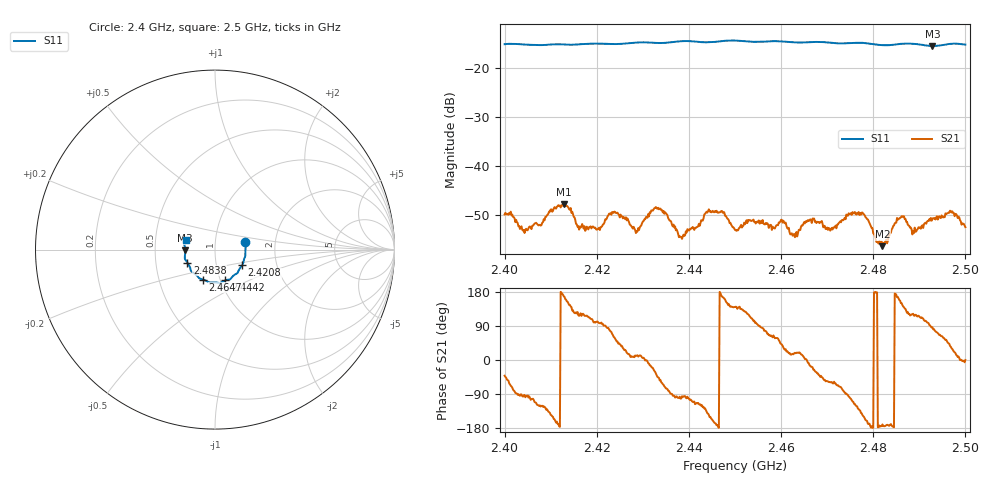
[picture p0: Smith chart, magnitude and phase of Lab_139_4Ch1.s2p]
# Hz S RI R 50
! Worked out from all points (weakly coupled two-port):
!   601 points, 2.4 GHz to 2.5 GHz, reference 50 ohm
!   highest |S21| = -47.78 dB at 2.4128 GHz (marker M1); lowest = -56.2 dB at 2.482 GHz (marker M2)
!   lowest |S11| = -15.6 dB at 2.4928 GHz (marker M3), VSWR 1.40, Z = 35.8 - j0.359 ohm
!   |S11| at or under -10 dB: start of sweep to end of sweep
!   S12 and S22 are empty: the file has one direction only
!   S11 on the Smith chart (normalised r, x): 2.4 GHz: 1.40, +0.12; 2.4208 GHz: 1.33, -0.24; 2.4442 GHz: 1.05, -0.37; 2.4647 GHz: 0.83, -0.29; 2.4838 GHz: 0.73, -0.11; 2.5 GHz: 0.72, +0.08
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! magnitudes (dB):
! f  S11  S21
! 2.4 GHz  -15.3  -49.8
! 2.4045 GHz  -15.3  -52.9
! 2.4128 GHz  -15.3  -47.8
! 2.4167 GHz  -15.2  -52.3
! 2.4208 GHz  -15.1  -52.4
! 2.4238 GHz  -15.2  -49.2
! 2.4288 GHz  -14.9  -53.3
! 2.4333 GHz  -15.0  -48.5
! 2.4383 GHz  -14.7  -54.4
! 2.4442 GHz  -14.9  -49.1
! 2.45 GHz  -14.5  -52.9
! 2.4647 GHz  -14.9  -52.0
! 2.4667 GHz  -14.8  -51.5
! 2.4707 GHz  -15.0  -53.1
! 2.4777 GHz  -15.0  -49.4
! 2.482 GHz  -15.4  -56.2
! 2.4833 GHz  -15.5  -54.0
! 2.4838 GHz  -15.4  -53.5
! 2.4862 GHz  -15.2  -50.2
! 2.4888 GHz  -15.2  -53.6
! 2.4928 GHz  -15.6  -50.6
! 2.5 GHz  -15.3  -52.4
